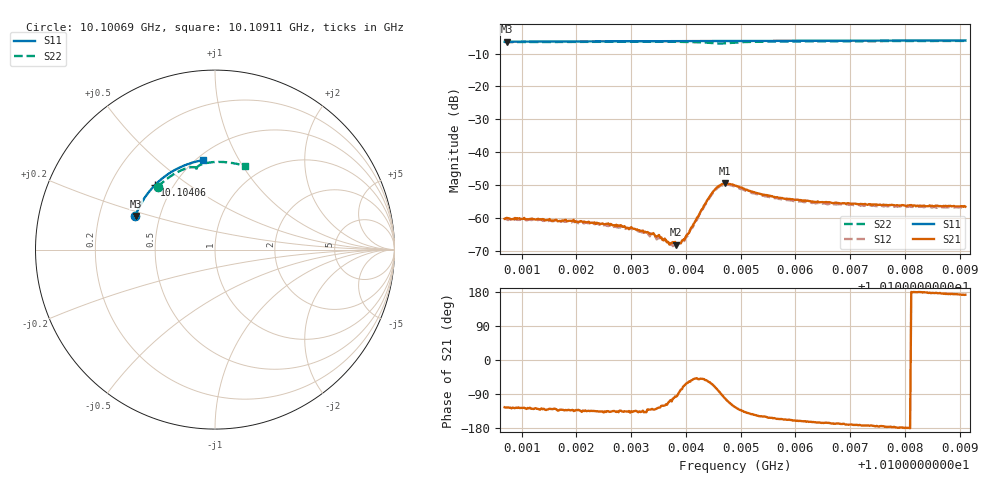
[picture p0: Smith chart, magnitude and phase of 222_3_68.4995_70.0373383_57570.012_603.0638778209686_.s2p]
#  HZ  S  RI  R  50.00
! Rohde & Schwarz Vector Network Analyzer
! Rohde-Schwarz,ZNB20-2Port,1311601062101988,3.16
! Created: UTC 3/20/2024, 4:58:36 PM
! freq[Hz]  re:S11  im:S11  re:S21  im:S21  re:S12  im:S12  re:S22  im:S22
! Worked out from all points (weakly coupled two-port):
!   401 points, 10.10069 GHz to 10.10911 GHz, reference 50 ohm
!   highest |S21| = -49.51 dB at 10.10471 GHz (marker M1); lowest = -68.2 dB at 10.10382 GHz (marker M2)
!   lowest |S11| = -6.4 dB at 10.10073 GHz (marker M3), VSWR 2.85, Z = 18.2 + j8.89 ohm
!   |S11| at or under -10 dB: nowhere
!   |S22| runs from -6.9 to -6.1 dB; largest |S21 - S12| = 0.00033
!   S11 on the Smith chart (normalised r, x): 10.10069 GHz: 0.36, +0.18; 10.10406 GHz: 0.40, +0.37; 10.10911 GHz: 0.54, +0.71
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1.0100689e10  -0.4436 0.1858  -0.000552 -0.000794  -0.000476 -0.000819  -0.32 0.349
1.0100731e10  -0.4426 0.1881  -0.000579 -0.000815  -0.000463 -0.000818  -0.3181 0.3508
1.0102099e10  -0.4077 0.2637  -0.000644 -0.000605  -0.00054 -0.000644  -0.2496 0.4074
1.0102604e10  -0.3914 0.2897  -0.00057 -0.000532  -0.000533 -0.00057  -0.2215 0.4248
1.0102962e10  -0.379 0.3077  -0.000472 -0.000476  -0.000461 -0.000512  -0.2004 0.436
1.0103404e10  -0.3624 0.3288  -0.000381 -0.000447  -0.000317 -0.000427  -0.173 0.4482
1.0103509e10  -0.3585 0.3336  -0.000321 -0.000444  -0.000259 -0.000422  -0.1662 0.4508
1.0103698e10  -0.3508 0.3424  -0.000132 -0.000371  -0.000138 -0.000387  -0.1532 0.4549
1.0103824e10  -0.3457 0.3481  -4.66e-05 -0.000388  -1.78e-05 -0.000371  -0.1441 0.4573
1.0103867e10  -0.3439 0.35  1.66e-05 -0.000411  5.97e-05 -0.000395  -0.1412 0.458
1.010393e10  -0.3412 0.3529  0.000103 -0.000438  0.000116 -0.000396  -0.1363 0.4589
1.0104056e10  -0.336 0.3583  0.000323 -0.000491  0.000334 -0.000455  -0.1266 0.46
1.010433e10  -0.3241 0.3698  0.000975 -0.00118  0.00103 -0.00104  -0.1042 0.4563
1.0104477e10  -0.3176 0.376  0.00105 -0.00211  0.00117 -0.00195  -0.0962 0.4479
1.0104603e10  -0.3121 0.3811  0.000403 -0.00303  0.000607 -0.00287  -0.0977 0.441
1.0104708e10  -0.3073 0.3852  -0.000609 -0.00329  -0.000299 -0.00318  -0.1027 0.4421
1.0104898e10  -0.2988 0.3927  -0.00175 -0.00257  -0.00145 -0.0026  -0.1024 0.4551
1.0105234e10  -0.2827 0.4055  -0.00201 -0.00145  -0.00179 -0.00155  -0.0817 0.4719
1.0105592e10  -0.2651 0.4183  -0.00188 -0.000927  -0.00171 -0.00105  -0.0567 0.4804
1.0106308e10  -0.2286 0.4414  -0.00171 -0.000502  -0.00156 -0.000624  -0.00843 0.4876
1.0107718e10  -0.1509 0.4764  -0.00157 -9.82e-05  -0.00148 -0.000261  0.0832 0.4847
1.0109107e10  -0.0696 0.4974  -0.00147 0.000198  -0.00145 3.51e-05  0.1696 0.4645
